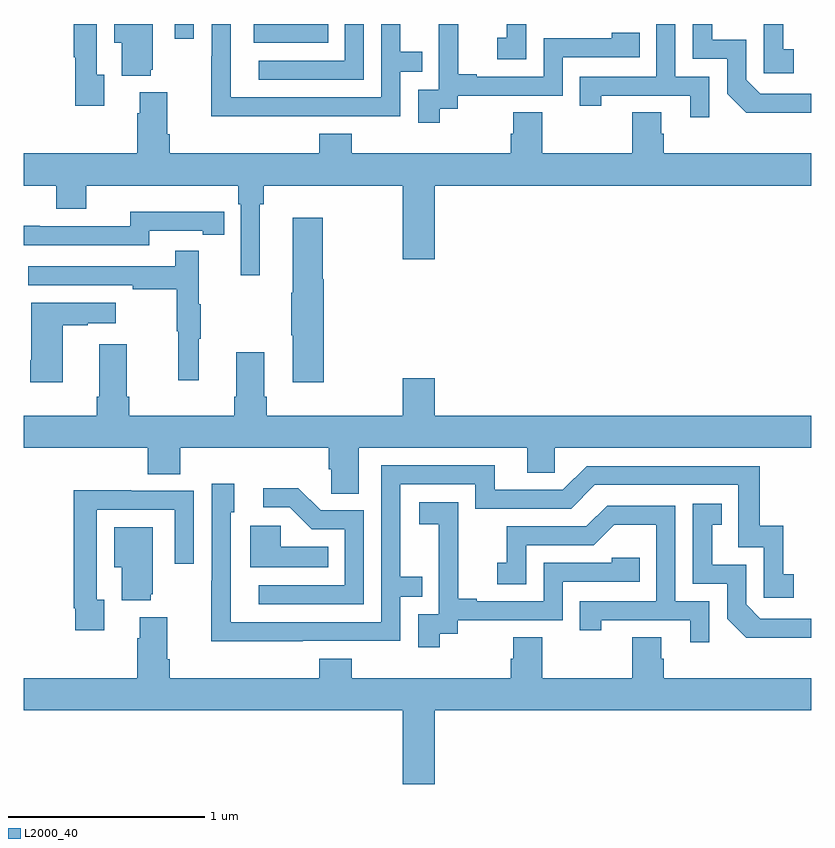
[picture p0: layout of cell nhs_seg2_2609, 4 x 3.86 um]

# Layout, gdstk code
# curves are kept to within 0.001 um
import gdstk
lib = gdstk.Library(unit=1e-6, precision=1e-09)
def R(c, l, rs):  # rectangles x0, y0, x1, y1
    for r in rs: c.add(gdstk.rectangle(r[:2], r[2:], *l))
def P(c, l, *ps):  # polygons
    for p in ps: c.add(gdstk.Polygon(p, *l))
L2000_40 = (2000, 40)

nhs_seg2_2609 = lib.new_cell('nhs_seg2_2609')
R(nhs_seg2_2609, L2000_40, [(248.168,637.706,248.546,637.8), (247.767,637.725,247.863,637.8)])
P(nhs_seg2_2609, L2000_40, [(248.417,637.332),(248.913,637.332),(248.913,637.557),(249.023,637.557),(249.023,637.658),(248.913,637.658),(248.913,637.8),(248.817,637.8),(248.817,637.428),(248.052,637.428),(248.052,637.8),(247.956,637.8),(247.956,637.637),(247.954,637.637),(247.954,637.331),(248.417,637.331)],
  [(247.411,637.542),(247.371,637.542),(247.371,637.8),(247.255,637.8),(247.255,637.63),(247.263,637.63),(247.263,637.386),(247.411,637.386)],
  [(247.646,637.569),(247.657,637.569),(247.657,637.8),(247.46,637.8),(247.46,637.706),(247.499,637.706),(247.499,637.538),(247.646,637.538)],
  [(248.727,637.8),(248.631,637.8),(248.631,637.614),(248.193,637.614),(248.193,637.518),(248.727,637.518)],
  [(249.112,637.369),(249.204,637.369),(249.204,637.437),(249.738,637.437),(249.738,637.632),(250.127,637.632),(250.127,637.755),(249.987,637.755),(249.987,637.728),(249.642,637.728),(249.642,637.533),(249.301,637.533),(249.301,637.546),(249.206,637.546),(249.206,637.8),(249.107,637.8),(249.107,637.697),(249.108,637.697),(249.108,637.467),(249.003,637.467),(249.003,637.299),(249.112,637.299)],
  [(250.909,637.671),(250.856,637.671),(250.856,637.8),(250.758,637.8),(250.758,637.551),(250.909,637.551)],
  [(251,637.446),(250.74,637.446),(250.668,637.518),(250.668,637.719),(250.495,637.719),(250.495,637.8),(250.398,637.8),(250.398,637.623),(250.572,637.623),(250.572,637.446),(250.67,637.349),(251,637.349)],
  [(249.552,637.8),(249.454,637.8),(249.454,637.729),(249.405,637.729),(249.405,637.62),(249.552,637.62)],
  [(250.482,637.533),(250.308,637.533),(250.308,637.8),(250.212,637.8),(250.212,637.533),(249.823,637.533),(249.823,637.386),(249.934,637.386),(249.934,637.437),(250.385,637.437),(250.385,637.326),(250.482,637.326)],
  [(248.2,636.884),(248.219,636.884),(248.219,636.98),(248.924,636.98),(248.924,636.606),(249.088,636.606),(249.088,636.98),(251,636.98),(251,637.144),(250.25,637.144),(250.25,637.242),(250.237,637.242),(250.237,637.352),(250.09,637.352),(250.09,637.144),(249.633,637.144),(249.633,637.352),(249.485,637.352),(249.485,637.242),(249.473,637.242),(249.473,637.144),(248.666,637.144),(248.666,637.243),(248.501,637.243),(248.501,637.144),(247.742,637.144),(247.742,637.24),(247.729,637.24),(247.729,637.453),(247.589,637.453),(247.589,637.346),(247.577,637.346),(247.577,637.144),(247,637.144),(247,636.98),(247.166,636.98),(247.166,636.863),(247.318,636.863),(247.318,636.98),(248.09,636.98),(248.09,636.884),(248.103,636.884),(248.103,636.525),(248.2,636.525)],
  [(247.638,636.75),(247.91,636.75),(247.91,636.73),(248.018,636.73),(248.018,636.846),(247.91,636.846),(247.91,636.847),(247.542,636.847),(247.542,636.774),(247.082,636.774),(247.082,636.776),(247,636.776),(247,636.678),(247.638,636.678)],
  [(248.525,636.504),(248.52,636.504),(248.52,636.817),(248.366,636.817),(248.366,636.437),(248.359,636.437),(248.359,636.22),(248.366,636.22),(248.366,635.982),(248.525,635.982)],
  [(247.889,636.203),(247.9,636.203),(247.9,636.377),(247.889,636.377),(247.889,636.649),(247.771,636.649),(247.771,636.57),(247.023,636.57),(247.023,636.474),(247.555,636.474),(247.555,636.454),(247.779,636.454),(247.779,636.24),(247.786,636.24),(247.786,635.991),(247.889,635.991)],
  [(247.198,636.271),(247.325,636.271),(247.325,636.281),(247.468,636.281),(247.468,636.385),(247.04,636.385),(247.04,636.094),(247.033,636.094),(247.033,635.982),(247.198,635.982)],
  [(248.701,635.648),(249.557,635.648),(249.557,635.521),(249.696,635.521),(249.696,635.648),(251,635.648),(251,635.812),(249.088,635.812),(249.088,636.001),(248.924,636.001),(248.924,635.812),(248.234,635.812),(248.234,635.908),(248.221,635.908),(248.221,636.133),(248.081,636.133),(248.081,635.908),(248.069,635.908),(248.069,635.812),(247.538,635.812),(247.538,635.908),(247.525,635.908),(247.525,636.175),(247.385,636.175),(247.385,635.908),(247.373,635.908),(247.373,635.812),(247,635.812),(247,635.648),(247.631,635.648),(247.631,635.515),(247.796,635.515),(247.796,635.648),(248.549,635.648),(248.549,635.539),(248.562,635.539),(248.562,635.416),(248.701,635.416)],
  [(248.417,634.668),(248.913,634.668),(248.913,634.893),(249.023,634.893),(249.023,634.994),(248.913,634.994),(248.913,635.463),(249.294,635.463),(249.294,635.34),(249.78,635.34),(249.9,635.46),(250.629,635.46),(250.629,635.145),(250.758,635.145),(250.758,634.887),(250.909,634.887),(250.909,635.007),(250.856,635.007),(250.856,635.254),(250.738,635.254),(250.738,635.556),(249.858,635.556),(249.738,635.436),(249.391,635.436),(249.391,635.559),(248.817,635.559),(248.817,634.764),(248.053,634.764),(248.052,635.322),(248.071,635.322),(248.071,635.467),(247.956,635.467),(247.956,634.973),(247.954,634.973),(247.954,634.667)],
  [(248.727,635.331),(248.508,635.331),(248.395,635.444),(248.217,635.444),(248.217,635.346),(248.351,635.346),(248.462,635.235),(248.631,635.235),(248.631,634.95),(248.193,634.95),(248.193,634.854),(248.727,634.854)],
  [(247.411,634.878),(247.371,634.878),(247.371,635.334),(247.767,635.334),(247.767,635.061),(247.863,635.061),(247.863,635.43),(247.547,635.43),(247.547,635.432),(247.255,635.432),(247.255,634.834),(247.263,634.834),(247.263,634.722),(247.411,634.722)],
  [(249.112,634.705),(249.204,634.705),(249.204,634.773),(249.738,634.773),(249.738,634.968),(250.127,634.968),(250.127,635.091),(249.987,635.091),(249.987,635.064),(249.642,635.064),(249.642,634.869),(249.301,634.869),(249.301,634.882),(249.206,634.882),(249.206,635.165),(249.207,635.165),(249.207,635.371),(249.009,635.371),(249.009,635.261),(249.107,635.261),(249.107,635.033),(249.108,635.033),(249.108,634.803),(249.003,634.803),(249.003,634.635),(249.112,634.635)],
  [(251,634.782),(250.74,634.782),(250.668,634.854),(250.668,635.055),(250.495,635.055),(250.495,635.259),(250.544,635.259),(250.544,635.365),(250.398,635.365),(250.398,634.959),(250.572,634.959),(250.572,634.782),(250.67,634.685),(251,634.685)],
  [(250.482,634.869),(250.308,634.869),(250.308,635.355),(249.962,635.355),(249.857,635.25),(249.454,635.25),(249.454,635.065),(249.405,635.065),(249.405,634.956),(249.552,634.956),(249.552,635.154),(249.894,635.154),(249.998,635.258),(250.212,635.258),(250.212,634.869),(249.823,634.869),(249.823,634.722),(249.934,634.722),(249.934,634.773),(250.385,634.773),(250.385,634.662),(250.482,634.662)],
  [(248.546,635.146),(248.307,635.146),(248.307,635.254),(248.15,635.254),(248.15,635.042),(248.546,635.042)],
  [(247.646,634.905),(247.657,634.905),(247.657,635.245),(247.46,635.245),(247.46,635.042),(247.499,635.042),(247.499,634.874),(247.646,634.874)],
  [(249.088,634.316),(251,634.316),(251,634.48),(250.25,634.48),(250.25,634.578),(250.237,634.578),(250.237,634.688),(250.09,634.688),(250.09,634.48),(249.633,634.48),(249.633,634.688),(249.485,634.688),(249.485,634.578),(249.473,634.578),(249.473,634.48),(248.666,634.48),(248.666,634.579),(248.501,634.579),(248.501,634.48),(247.742,634.48),(247.742,634.576),(247.729,634.576),(247.729,634.789),(247.589,634.789),(247.589,634.682),(247.577,634.682),(247.577,634.48),(247,634.48),(247,634.316),(248.924,634.316),(248.924,633.942),(249.088,633.942)])

lib.write_gds('nhs_seg2_2609.gds')
